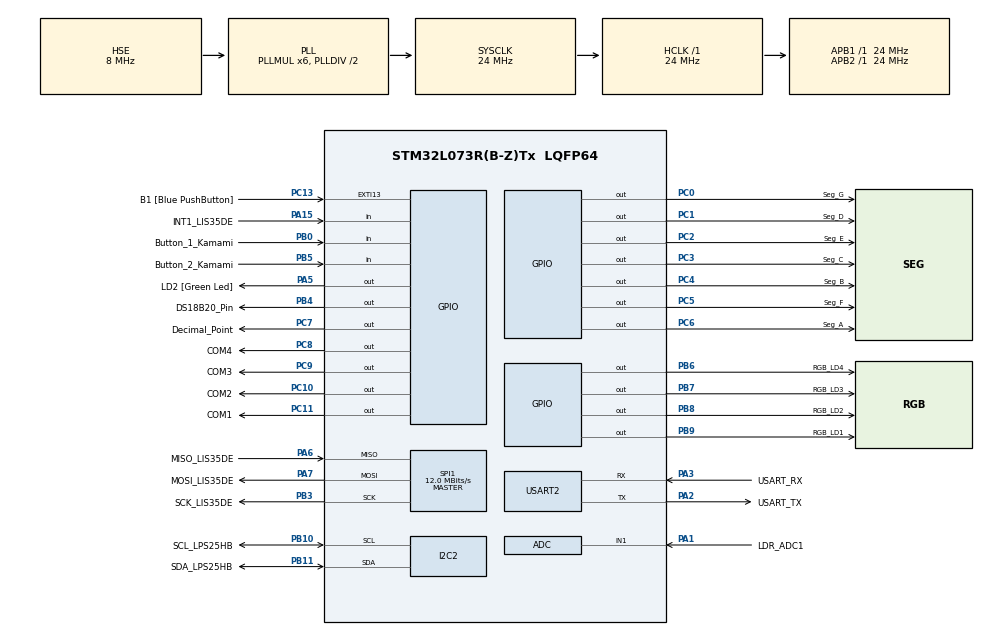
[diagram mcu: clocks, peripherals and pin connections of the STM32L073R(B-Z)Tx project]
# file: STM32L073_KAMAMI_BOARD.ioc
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I2C2.Timing=0x00506682
Mcu.Family=STM32L0
Mcu.Name=STM32L073R(B-Z)Tx
Mcu.Package=LQFP64
Mcu.UserConstants=T2_PRE,23999;T2_CNT,999
NVIC.I2C2_IRQn=true\:0\:0\:false\:false\:true\:true\:true\:true
NVIC.TIM2_IRQn=true\:0\:0\:false\:false\:true\:true\:true\:true
PA1.GPIO_Label=LDR_ADC1
PA1.Mode=IN1
PA1.Signal=ADC_IN1
PA13.GPIO_Label=TMS
PA13.Mode=Serial_Wire
PA13.Signal=SYS_SWDIO
PA14.GPIO_Label=TCK
PA14.Mode=Serial_Wire
PA14.Signal=SYS_SWCLK
PA15.GPIO_Label=INT1_LIS35DE
PA15.Signal=GPIO_Input
PA2.GPIO_Label=USART_TX
PA2.Mode=Asynchronous
PA2.Signal=USART2_TX
PA3.GPIO_Label=USART_RX
PA3.Mode=Asynchronous
PA3.Signal=USART2_RX
PA5.GPIO_Label=LD2 [Green Led]
PA5.Signal=GPIO_Output
PA6.GPIO_Label=MISO_LIS35DE
PA6.Mode=Full_Duplex_Master
PA6.Signal=SPI1_MISO
PA7.GPIO_Label=MOSI_LIS35DE
PA7.Mode=Full_Duplex_Master
PA7.Signal=SPI1_MOSI
PB0.GPIO_Label=Button_1_Kamami
PB0.Signal=GPIO_Input
PB10.GPIO_Label=SCL_LPS25HB
PB10.Mode=I2C
PB10.Signal=I2C2_SCL
PB11.GPIO_Label=SDA_LPS25HB
PB11.Mode=I2C
PB11.Signal=I2C2_SDA
PB3.GPIO_Label=SCK_LIS35DE
PB3.Mode=Full_Duplex_Master
PB3.Signal=SPI1_SCK
PB4.GPIO_Label=DS18B20_Pin
PB4.Signal=GPIO_Output
PB5.GPIO_Label=Button_2_Kamami
PB5.Signal=GPIO_Input
PB6.GPIO_Label=RGB_LD4
PB6.Signal=GPIO_Output
PB7.GPIO_Label=RGB_LD3
PB7.Signal=GPIO_Output
PB8.GPIO_Label=RGB_LD2
PB8.Signal=GPIO_Output
PB9.GPIO_Label=RGB_LD1
PB9.Signal=GPIO_Output
PC0.GPIO_Label=Seg_G
PC0.Signal=GPIO_Output
PC1.GPIO_Label=Seg_D
PC1.Signal=GPIO_Output
PC10.GPIO_Label=COM2
PC10.Signal=GPIO_Output
PC11.GPIO_Label=COM1
PC11.Signal=GPIO_Output
PC13.GPIO_Label=B1 [Blue PushButton]
PC13.GPIO_ModeDefaultEXTI=GPIO_MODE_IT_FALLING
PC13.Signal=GPXTI13
PC14-OSC32_IN.Mode=LSE-External-Oscillator
PC14-OSC32_IN.Signal=RCC_OSC32_IN
PC15-OSC32_OUT.Mode=LSE-External-Oscillator
PC15-OSC32_OUT.Signal=RCC_OSC32_OUT
PC2.GPIO_Label=Seg_E
PC2.Signal=GPIO_Output
PC3.GPIO_Label=Seg_C
PC3.Signal=GPIO_Output
PC4.GPIO_Label=Seg_B
PC4.Signal=GPIO_Output
PC5.GPIO_Label=Seg_F
PC5.Signal=GPIO_Output
PC6.GPIO_Label=Seg_A
PC6.Signal=GPIO_Output
PC7.GPIO_Label=Decimal_Point
PC7.Signal=GPIO_Output
PC8.GPIO_Label=COM4
PC8.Signal=GPIO_Output
PC9.GPIO_Label=COM3
PC9.Signal=GPIO_Output
PH0-OSC_IN.GPIO_Label=MCO
PH0-OSC_IN.Mode=HSE-External-Clock-Source
PH0-OSC_IN.Signal=RCC_OSC_IN
ProjectManager.HeapSize=0x200
ProjectManager.StackSize=0x400
ProjectManager.TargetToolchain=MDK-ARM V5.32
RCC.AHBFreq_Value=24000000
RCC.APB1Freq_Value=24000000
RCC.APB1TimFreq_Value=24000000
RCC.APB2Freq_Value=24000000
RCC.APB2TimFreq_Value=24000000
RCC.HCLKFreq_Value=24000000
RCC.HSE_VALUE=8000000
RCC.HSI16_VALUE=16000000
RCC.HSI48_VALUE=48000000
RCC.HSI_VALUE=16000000
RCC.MSI_VALUE=2097000
RCC.PLLMUL=RCC_PLLMUL_6
RCC.PLLSourceVirtual=RCC_PLLSOURCE_HSE
RCC.SYSCLKFreq_VALUE=24000000
RCC.SYSCLKSource=RCC_SYSCLKSOURCE_PLLCLK
RCC.VCOOutputFreq_Value=48000000
SPI1.CalculateBaudRate=12.0 MBits/s
SPI1.Direction=SPI_DIRECTION_2LINES
SPI1.Mode=SPI_MODE_MASTER
SPI1.VirtualType=VM_MASTER
TIM2.Period=T2_CNT
TIM2.Prescaler=T2_PRE
USART2.VirtualMode-Asynchronous=VM_ASYNC
VP_TIM2_VS_ClockSourceINT.Mode=Internal
board=NUCLEO-L073RZ

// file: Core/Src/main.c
/* USER CODE BEGIN Header */
/**
  ******************************************************************************
  * @file           : main.c
  * @brief          : Main program body
  ******************************************************************************
  * @attention
  *
  * Copyright (c) 2022 STMicroelectronics.
  * All rights reserved.
  *
  * This software is licensed under terms that can be found in the LICENSE file
  * in the root directory of this software component.
  * If no LICENSE file comes with this software, it is provided AS-IS.
  *
  ******************************************************************************
  */
/* USER CODE END Header */
#include "main.h"

/* USER CODE BEGIN Includes */
#include "LPS25HB.h"
#include "4DIG_7SEG_DISPLAY.h"
#include "RGB_LEDS.h"

/* USER CODE END Includes */

/* USER CODE BEGIN PD */

StatusType Status=IDLE;

/* USER CODE END PD */

ADC_HandleTypeDef hadc;

I2C_HandleTypeDef hi2c2;

SPI_HandleTypeDef hspi1;

TIM_HandleTypeDef htim2;

UART_HandleTypeDef huart2;

/* USER CODE BEGIN PV */
float temperatura; // Temperatura
unsigned char temperature_digits_to_display[NUMBER_OF_DISPLAY_DIGITS];

/* USER CODE END PV */

void SystemClock_Config(void);
static void MX_GPIO_Init(void);
static void MX_ADC_Init(void);
static void MX_I2C2_Init(void);
static void MX_SPI1_Init(void);
static void MX_USART2_UART_Init(void);
static void MX_TIM2_Init(void);

/* USER CODE BEGIN 0 */
// Override the weak call back function
void HAL_TIM_PeriodElapsedCallback(TIM_HandleTypeDef * htim) {
  if (htim -> Instance == TIM2) {
		if (Status == IDLE)  {
			LPS25HB_Measure_Temperature_IT( &hi2c2); //Temperaturos nuskaitymas
		  Status=SAMPLE_REQUESTED;
		}
  }
}
/* USER CODE END 0 */

int main(void)
{

  /* MCU Configuration--------------------------------------------------------*/

  /* Reset of all peripherals, Initializes the Flash interface and the Systick. */
  HAL_Init();

  /* Configure the system clock */
  SystemClock_Config();

  /* Initialize all configured peripherals */
  MX_GPIO_Init();
  MX_ADC_Init();
  MX_I2C2_Init();
  MX_SPI1_Init();
  MX_USART2_UART_Init();
  MX_TIM2_Init();
  /* USER CODE BEGIN 2 */
	LPS25HB_Initialise(&hi2c2);
	HAL_TIM_Base_Start_IT(&htim2);

  /* USER CODE END 2 */

  /* Infinite loop */
  while (1) {

    /* USER CODE BEGIN 3 */
		if (Status == SAMPLE_READY)
		{
		if ((temperatura) > 25) {
      RED_LED1();
    } else if ((temperatura) > 20) {
      GREEN_LED1();
    } else {
      BLUE_LED1();
    }

		// ismatavus nauja temperatura, perskaiciuojami atvaizduojami simboliai
		temperature_digits_to_display[0] = (int)temperatura%10; // 1st digit
    temperature_digits_to_display[1] = ((int)temperatura/10)%10; // 2nd digit
    temperature_digits_to_display[2] = ((int)temperatura/100)%10; // 3rd digit
    temperature_digits_to_display[3] = ((int)temperatura/1000)%10; // 4th digit

		Status=IDLE;
	}

  }
  /* USER CODE END 3 */
}

void SystemClock_Config(void)
{
  RCC_OscInitTypeDef RCC_OscInitStruct = {0};
  RCC_ClkInitTypeDef RCC_ClkInitStruct = {0};
  RCC_PeriphCLKInitTypeDef PeriphClkInit = {0};

  /** Configure the main internal regulator output voltage
  */
  __HAL_PWR_VOLTAGESCALING_CONFIG(PWR_REGULATOR_VOLTAGE_SCALE1);

  /** Initializes the RCC Oscillators according to the specified parameters
  * in the RCC_OscInitTypeDef structure.
  */
  RCC_OscInitStruct.OscillatorType = RCC_OSCILLATORTYPE_HSE;
  RCC_OscInitStruct.HSEState = RCC_HSE_BYPASS;
  RCC_OscInitStruct.PLL.PLLState = RCC_PLL_ON;
  RCC_OscInitStruct.PLL.PLLSource = RCC_PLLSOURCE_HSE;
  RCC_OscInitStruct.PLL.PLLMUL = RCC_PLLMUL_6;
  RCC_OscInitStruct.PLL.PLLDIV = RCC_PLLDIV_2;
  if (HAL_RCC_OscConfig(&RCC_OscInitStruct) != HAL_OK)
  {
    Error_Handler();
  }

  /** Initializes the CPU, AHB and APB buses clocks
  */
  RCC_ClkInitStruct.ClockType = RCC_CLOCKTYPE_HCLK|RCC_CLOCKTYPE_SYSCLK
                              |RCC_CLOCKTYPE_PCLK1|RCC_CLOCKTYPE_PCLK2;
  RCC_ClkInitStruct.SYSCLKSource = RCC_SYSCLKSOURCE_PLLCLK;
  RCC_ClkInitStruct.AHBCLKDivider = RCC_SYSCLK_DIV1;
  RCC_ClkInitStruct.APB1CLKDivider = RCC_HCLK_DIV1;
  RCC_ClkInitStruct.APB2CLKDivider = RCC_HCLK_DIV1;

  if (HAL_RCC_ClockConfig(&RCC_ClkInitStruct, FLASH_LATENCY_1) != HAL_OK)
  {
    Error_Handler();
  }
  PeriphClkInit.PeriphClockSelection = RCC_PERIPHCLK_USART2;
  PeriphClkInit.Usart2ClockSelection = RCC_USART2CLKSOURCE_PCLK1;
  if (HAL_RCCEx_PeriphCLKConfig(&PeriphClkInit) != HAL_OK)
  {
    Error_Handler();
  }
}

static void MX_ADC_Init(void)
{

  ADC_ChannelConfTypeDef sConfig = {0};

  /** Configure the global features of the ADC (Clock, Resolution, Data Alignment and number of conversion)
  */
  hadc.Instance = ADC1;
  hadc.Init.OversamplingMode = DISABLE;
  hadc.Init.ClockPrescaler = ADC_CLOCK_SYNC_PCLK_DIV2;
  hadc.Init.Resolution = ADC_RESOLUTION_12B;
  hadc.Init.SamplingTime = ADC_SAMPLETIME_1CYCLE_5;
  hadc.Init.ScanConvMode = ADC_SCAN_DIRECTION_FORWARD;
  hadc.Init.DataAlign = ADC_DATAALIGN_RIGHT;
  hadc.Init.ContinuousConvMode = DISABLE;
  hadc.Init.DiscontinuousConvMode = DISABLE;
  hadc.Init.ExternalTrigConvEdge = ADC_EXTERNALTRIGCONVEDGE_NONE;
  hadc.Init.ExternalTrigConv = ADC_SOFTWARE_START;
  hadc.Init.DMAContinuousRequests = DISABLE;
  hadc.Init.EOCSelection = ADC_EOC_SINGLE_CONV;
  hadc.Init.Overrun = ADC_OVR_DATA_PRESERVED;
  hadc.Init.LowPowerAutoWait = DISABLE;
  hadc.Init.LowPowerFrequencyMode = DISABLE;
  hadc.Init.LowPowerAutoPowerOff = DISABLE;
  if (HAL_ADC_Init(&hadc) != HAL_OK)
  {
    Error_Handler();
  }

  /** Configure for the selected ADC regular channel to be converted.
  */
  sConfig.Channel = ADC_CHANNEL_1;
  sConfig.Rank = ADC_RANK_CHANNEL_NUMBER;
  if (HAL_ADC_ConfigChannel(&hadc, &sConfig) != HAL_OK)
  {
    Error_Handler();
  }

}

static void MX_I2C2_Init(void)
{

  hi2c2.Instance = I2C2;
  hi2c2.Init.Timing = 0x00506682;
  hi2c2.Init.OwnAddress1 = 0;
  hi2c2.Init.AddressingMode = I2C_ADDRESSINGMODE_7BIT;
  hi2c2.Init.DualAddressMode = I2C_DUALADDRESS_DISABLE;
  hi2c2.Init.OwnAddress2 = 0;
  hi2c2.Init.OwnAddress2Masks = I2C_OA2_NOMASK;
  hi2c2.Init.GeneralCallMode = I2C_GENERALCALL_DISABLE;
  hi2c2.Init.NoStretchMode = I2C_NOSTRETCH_DISABLE;
  if (HAL_I2C_Init(&hi2c2) != HAL_OK)
  {
    Error_Handler();
  }

  /** Configure Analogue filter
  */
  if (HAL_I2CEx_ConfigAnalogFilter(&hi2c2, I2C_ANALOGFILTER_ENABLE) != HAL_OK)
  {
    Error_Handler();
  }

  /** Configure Digital filter
  */
  if (HAL_I2CEx_ConfigDigitalFilter(&hi2c2, 0) != HAL_OK)
  {
    Error_Handler();
  }

}

static void MX_SPI1_Init(void)
{

  /* SPI1 parameter configuration*/
  hspi1.Instance = SPI1;
  hspi1.Init.Mode = SPI_MODE_MASTER;
  hspi1.Init.Direction = SPI_DIRECTION_2LINES;
  hspi1.Init.DataSize = SPI_DATASIZE_8BIT;
  hspi1.Init.CLKPolarity = SPI_POLARITY_LOW;
  hspi1.Init.CLKPhase = SPI_PHASE_1EDGE;
  hspi1.Init.NSS = SPI_NSS_SOFT;
  hspi1.Init.BaudRatePrescaler = SPI_BAUDRATEPRESCALER_2;
  hspi1.Init.FirstBit = SPI_FIRSTBIT_MSB;
  hspi1.Init.TIMode = SPI_TIMODE_DISABLE;
  hspi1.Init.CRCCalculation = SPI_CRCCALCULATION_DISABLE;
  hspi1.Init.CRCPolynomial = 7;
  if (HAL_SPI_Init(&hspi1) != HAL_OK)
  {
    Error_Handler();
  }

}

static void MX_TIM2_Init(void)
{

  TIM_ClockConfigTypeDef sClockSourceConfig = {0};
  TIM_MasterConfigTypeDef sMasterConfig = {0};

  htim2.Instance = TIM2;
  htim2.Init.Prescaler = T2_PRE;
  htim2.Init.CounterMode = TIM_COUNTERMODE_UP;
  htim2.Init.Period = T2_CNT;
  htim2.Init.ClockDivision = TIM_CLOCKDIVISION_DIV1;
  htim2.Init.AutoReloadPreload = TIM_AUTORELOAD_PRELOAD_DISABLE;
  if (HAL_TIM_Base_Init(&htim2) != HAL_OK)
  {
    Error_Handler();
  }
  sClockSourceConfig.ClockSource = TIM_CLOCKSOURCE_INTERNAL;
  if (HAL_TIM_ConfigClockSource(&htim2, &sClockSourceConfig) != HAL_OK)
  {
    Error_Handler();
  }
  sMasterConfig.MasterOutputTrigger = TIM_TRGO_RESET;
  sMasterConfig.MasterSlaveMode = TIM_MASTERSLAVEMODE_DISABLE;
  if (HAL_TIMEx_MasterConfigSynchronization(&htim2, &sMasterConfig) != HAL_OK)
  {
    Error_Handler();
  }

}

static void MX_USART2_UART_Init(void)
{

  huart2.Instance = USART2;
  huart2.Init.BaudRate = 115200;
  huart2.Init.WordLength = UART_WORDLENGTH_8B;
  huart2.Init.StopBits = UART_STOPBITS_1;
  huart2.Init.Parity = UART_PARITY_NONE;
  huart2.Init.Mode = UART_MODE_TX_RX;
  huart2.Init.HwFlowCtl = UART_HWCONTROL_NONE;
  huart2.Init.OverSampling = UART_OVERSAMPLING_16;
  huart2.Init.OneBitSampling = UART_ONE_BIT_SAMPLE_DISABLE;
  huart2.AdvancedInit.AdvFeatureInit = UART_ADVFEATURE_NO_INIT;
  if (HAL_UART_Init(&huart2) != HAL_OK)
  {
    Error_Handler();
  }

}

static void MX_GPIO_Init(void)
{
  GPIO_InitTypeDef GPIO_InitStruct = {0};

  /* GPIO Ports Clock Enable */
  __HAL_RCC_GPIOC_CLK_ENABLE();
  __HAL_RCC_GPIOH_CLK_ENABLE();
  __HAL_RCC_GPIOA_CLK_ENABLE();
  __HAL_RCC_GPIOB_CLK_ENABLE();

  /*Configure GPIO pin Output Level */
  HAL_GPIO_WritePin(GPIOC, Seg_G_Pin|Seg_D_Pin|Seg_E_Pin|Seg_C_Pin
                          |Seg_B_Pin|Seg_F_Pin|Seg_A_Pin|Decimal_Point_Pin
                          |COM4_Pin|COM3_Pin|COM2_Pin|COM1_Pin, GPIO_PIN_RESET);

  /*Configure GPIO pin Output Level */
  HAL_GPIO_WritePin(LD2_GPIO_Port, LD2_Pin, GPIO_PIN_RESET);

  /*Configure GPIO pin Output Level */
  HAL_GPIO_WritePin(GPIOB, DS18B20_Pin_Pin|RGB_LD4_Pin|RGB_LD3_Pin|RGB_LD2_Pin
                          |RGB_LD1_Pin, GPIO_PIN_RESET);

  /*Configure GPIO pin : B1_Pin */
  GPIO_InitStruct.Pin = B1_Pin;
  GPIO_InitStruct.Mode = GPIO_MODE_IT_FALLING;
  GPIO_InitStruct.Pull = GPIO_NOPULL;
  HAL_GPIO_Init(B1_GPIO_Port, &GPIO_InitStruct);

  /*Configure GPIO pins : Seg_G_Pin Seg_D_Pin Seg_E_Pin Seg_C_Pin
                           Seg_B_Pin Seg_F_Pin Seg_A_Pin Decimal_Point_Pin
                           COM4_Pin COM3_Pin COM2_Pin COM1_Pin */
  GPIO_InitStruct.Pin = Seg_G_Pin|Seg_D_Pin|Seg_E_Pin|Seg_C_Pin
                          |Seg_B_Pin|Seg_F_Pin|Seg_A_Pin|Decimal_Point_Pin
                          |COM4_Pin|COM3_Pin|COM2_Pin|COM1_Pin;
  GPIO_InitStruct.Mode = GPIO_MODE_OUTPUT_PP;
  GPIO_InitStruct.Pull = GPIO_NOPULL;
  GPIO_InitStruct.Speed = GPIO_SPEED_FREQ_LOW;
  HAL_GPIO_Init(GPIOC, &GPIO_InitStruct);

  /*Configure GPIO pin : LD2_Pin */
  GPIO_InitStruct.Pin = LD2_Pin;
  GPIO_InitStruct.Mode = GPIO_MODE_OUTPUT_PP;
  GPIO_InitStruct.Pull = GPIO_NOPULL;
  GPIO_InitStruct.Speed = GPIO_SPEED_FREQ_LOW;
  HAL_GPIO_Init(LD2_GPIO_Port, &GPIO_InitStruct);

  /*Configure GPIO pins : Button_1_Kamami_Pin Button_2_Kamami_Pin */
  GPIO_InitStruct.Pin = Button_1_Kamami_Pin|Button_2_Kamami_Pin;
  GPIO_InitStruct.Mode = GPIO_MODE_INPUT;
  GPIO_InitStruct.Pull = GPIO_NOPULL;
  HAL_GPIO_Init(GPIOB, &GPIO_InitStruct);

  /*Configure GPIO pin : INT1_LIS35DE_Pin */
  GPIO_InitStruct.Pin = INT1_LIS35DE_Pin;
  GPIO_InitStruct.Mode = GPIO_MODE_INPUT;
  GPIO_InitStruct.Pull = GPIO_NOPULL;
  HAL_GPIO_Init(INT1_LIS35DE_GPIO_Port, &GPIO_InitStruct);

  /*Configure GPIO pins : DS18B20_Pin_Pin RGB_LD4_Pin RGB_LD3_Pin RGB_LD2_Pin
                           RGB_LD1_Pin */
  GPIO_InitStruct.Pin = DS18B20_Pin_Pin|RGB_LD4_Pin|RGB_LD3_Pin|RGB_LD2_Pin
                          |RGB_LD1_Pin;
  GPIO_InitStruct.Mode = GPIO_MODE_OUTPUT_PP;
  GPIO_InitStruct.Pull = GPIO_NOPULL;
  GPIO_InitStruct.Speed = GPIO_SPEED_FREQ_LOW;
  HAL_GPIO_Init(GPIOB, &GPIO_InitStruct);

}

void Error_Handler(void)
{
  __disable_irq();
  while (1)
  {
  }
}
